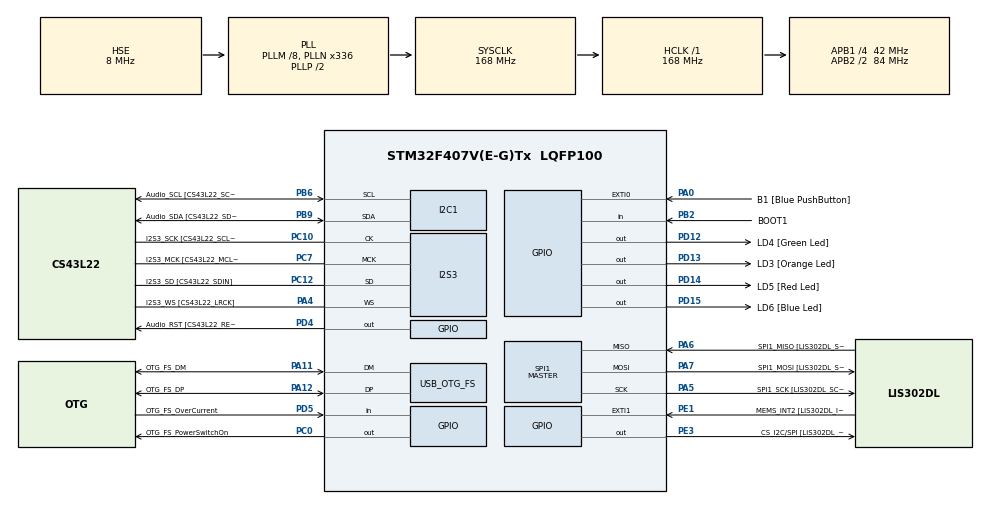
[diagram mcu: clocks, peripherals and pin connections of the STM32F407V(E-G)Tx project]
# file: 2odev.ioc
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I2S3.AudioFreq-Half_Duplex_Master=I2S_AUDIOFREQ_96K
I2S3.ErrorAudioFreq=-2.34 %
I2S3.ErrorAudioFreq-Half_Duplex_Master=0.8 %
I2S3.FullDuplexMode=I2S_FULLDUPLEXMODE_DISABLE
I2S3.Instance=SPI$Index
I2S3.RealAudioFreq=93.75 KHz
I2S3.RealAudioFreq-Half_Duplex_Master=96.774 KHz
I2S3.VirtualMode=I2S_MODE_MASTER
Mcu.Family=STM32F4
Mcu.Name=STM32F407V(E-G)Tx
Mcu.Package=LQFP100
NVIC.EXTI0_IRQn=true\:0\:0\:false\:false\:true\:true\:true\:true
NVIC.OTG_FS_IRQn=true\:0\:0\:false\:false\:true\:true\:true\:true
NVIC.PriorityGroup=NVIC_PRIORITYGROUP_0
NVIC.TIM6_DAC_IRQn=true\:0\:0\:false\:false\:true\:true\:true\:true
NVIC.TIM7_IRQn=true\:0\:0\:false\:false\:true\:true\:true\:true
PA0-WKUP.GPIO_Label=B1 [Blue PushButton]
PA0-WKUP.GPIO_ModeDefaultEXTI=GPIO_MODE_IT_RISING_FALLING
PA0-WKUP.GPIO_PuPd=GPIO_NOPULL
PA0-WKUP.Signal=GPXTI0
PA10.GPIO_Label=OTG_FS_ID
PA10.GPIO_Mode=GPIO_MODE_AF_PP
PA10.GPIO_PuPd=GPIO_NOPULL
PA10.GPIO_Speed=GPIO_SPEED_FREQ_LOW
PA10.Signal=USB_OTG_FS_ID
PA11.GPIO_Label=OTG_FS_DM
PA11.GPIO_Mode=GPIO_MODE_AF_PP
PA11.GPIO_PuPd=GPIO_NOPULL
PA11.GPIO_Speed=GPIO_SPEED_FREQ_LOW
PA11.Mode=Device_Only
PA11.Signal=USB_OTG_FS_DM
PA12.GPIO_Label=OTG_FS_DP
PA12.GPIO_Mode=GPIO_MODE_AF_PP
PA12.GPIO_PuPd=GPIO_NOPULL
PA12.GPIO_Speed=GPIO_SPEED_FREQ_LOW
PA12.Mode=Device_Only
PA12.Signal=USB_OTG_FS_DP
PA13.GPIO_Label=SWDIO
PA13.Mode=Trace_Asynchronous_SW
PA13.Signal=SYS_JTMS-SWDIO
PA14.GPIO_Label=SWCLK
PA14.Mode=Trace_Asynchronous_SW
PA14.Signal=SYS_JTCK-SWCLK
PA4.GPIO_Label=I2S3_WS [CS43L22_LRCK]
PA4.GPIO_Mode=GPIO_MODE_AF_PP
PA4.GPIO_PuPd=GPIO_NOPULL
PA4.GPIO_Speed=GPIO_SPEED_FREQ_LOW
PA4.Mode=Half_Duplex_Master
PA4.Signal=I2S3_WS
PA5.GPIO_Label=SPI1_SCK [LIS302DL_SCL/SPC]
PA5.GPIO_Mode=GPIO_MODE_AF_PP
PA5.GPIO_PuPd=GPIO_NOPULL
PA5.GPIO_Speed=GPIO_SPEED_FREQ_LOW
PA5.Mode=Full_Duplex_Master
PA5.Signal=SPI1_SCK
PA6.GPIO_Label=SPI1_MISO [LIS302DL_SDO]
PA6.GPIO_Mode=GPIO_MODE_AF_PP
PA6.GPIO_PuPd=GPIO_NOPULL
PA6.GPIO_Speed=GPIO_SPEED_FREQ_LOW
PA6.Mode=Full_Duplex_Master
PA6.Signal=SPI1_MISO
PA7.GPIO_Label=SPI1_MOSI [LIS302DL_SDA/SDI/SDO]
PA7.GPIO_Mode=GPIO_MODE_AF_PP
PA7.GPIO_PuPd=GPIO_NOPULL
PA7.GPIO_Speed=GPIO_SPEED_FREQ_LOW
PA7.Mode=Full_Duplex_Master
PA7.Signal=SPI1_MOSI
PA9.GPIO_Label=VBUS_FS
PA9.GPIO_Mode=GPIO_MODE_INPUT
PA9.GPIO_PuPd=GPIO_NOPULL
PA9.Signal=USB_OTG_FS_VBUS
PB10.GPIO_Label=CLK_IN [MP45DT02_CLK]
PB10.GPIO_Mode=GPIO_MODE_AF_PP
PB10.GPIO_PuPd=GPIO_NOPULL
PB10.GPIO_Speed=GPIO_SPEED_FREQ_LOW
PB10.Signal=I2S2_CK
PB2.GPIO_Label=BOOT1
PB2.GPIO_Mode=GPIO_MODE_INPUT
PB2.GPIO_PuPd=GPIO_NOPULL
PB2.Signal=GPIO_Input
PB3.GPIO_Label=SWO
PB3.Mode=Trace_Asynchronous_SW
PB3.Signal=SYS_JTDO-SWO
PB6.GPIO_Label=Audio_SCL [CS43L22_SCL]
PB6.GPIO_Mode=GPIO_MODE_AF_OD
PB6.GPIO_Pu=GPIO_PULLUP
PB6.GPIO_PuPd=GPIO_NOPULL
PB6.GPIO_Speed=GPIO_SPEED_FREQ_LOW
PB6.Mode=I2C
PB6.Signal=I2C1_SCL
PB9.GPIO_Label=Audio_SDA [CS43L22_SDA]
PB9.GPIO_Mode=GPIO_MODE_AF_OD
PB9.GPIO_Pu=GPIO_PULLUP
PB9.GPIO_PuPd=GPIO_NOPULL
PB9.GPIO_Speed=GPIO_SPEED_FREQ_LOW
PB9.Mode=I2C
PB9.Signal=I2C1_SDA
PC0.GPIO_Label=OTG_FS_PowerSwitchOn
PC0.GPIO_PuPd=GPIO_NOPULL
PC0.GPIO_Speed=GPIO_SPEED_FREQ_LOW
PC0.PinState=GPIO_PIN_SET
PC0.Signal=GPIO_Output
PC10.GPIO_Label=I2S3_SCK [CS43L22_SCLK]
PC10.GPIO_Mode=GPIO_MODE_AF_PP
PC10.GPIO_PuPd=GPIO_NOPULL
PC10.GPIO_Speed=GPIO_SPEED_FREQ_LOW
PC10.Mode=Half_Duplex_Master
PC10.Signal=I2S3_CK
PC12.GPIO_Label=I2S3_SD [CS43L22_SDIN]
PC12.GPIO_Mode=GPIO_MODE_AF_PP
PC12.GPIO_PuPd=GPIO_NOPULL
PC12.GPIO_Speed=GPIO_SPEED_FREQ_LOW
PC12.Mode=Half_Duplex_Master
PC12.Signal=I2S3_SD
PC14-OSC32_IN.GPIO_Label=PC14-OSC32_IN
PC14-OSC32_IN.Mode=LSE-External-Oscillator
PC14-OSC32_IN.Signal=RCC_OSC32_IN
PC15-OSC32_OUT.GPIO_Label=PC15-OSC32_OUT
PC15-OSC32_OUT.Mode=LSE-External-Oscillator
PC15-OSC32_OUT.Signal=RCC_OSC32_OUT
PC3.GPIO_Label=PDM_OUT [MP45DT02_DOUT]
PC3.GPIO_Mode=GPIO_MODE_AF_PP
PC3.GPIO_PuPd=GPIO_NOPULL
PC3.GPIO_Speed=GPIO_SPEED_FREQ_LOW
PC3.Signal=I2S2_SD
PC7.GPIO_Label=I2S3_MCK [CS43L22_MCLK]
PC7.GPIO_Mode=GPIO_MODE_AF_PP
PC7.GPIO_PuPd=GPIO_NOPULL
PC7.GPIO_Speed=GPIO_SPEED_FREQ_LOW
PC7.Mode=Master_Clock_Activated
PC7.Signal=I2S3_MCK
PD12.GPIO_Label=LD4 [Green Led]
PD12.GPIO_PuPd=GPIO_NOPULL
PD12.GPIO_Speed=GPIO_SPEED_FREQ_LOW
PD12.Signal=GPIO_Output
PD13.GPIO_Label=LD3 [Orange Led]
PD13.GPIO_PuPd=GPIO_NOPULL
PD13.GPIO_Speed=GPIO_SPEED_FREQ_LOW
PD13.Signal=GPIO_Output
PD14.GPIO_Label=LD5 [Red Led]
PD14.GPIO_PuPd=GPIO_NOPULL
PD14.GPIO_Speed=GPIO_SPEED_FREQ_LOW
PD14.Signal=GPIO_Output
PD15.GPIO_Label=LD6 [Blue Led]
PD15.GPIO_PuPd=GPIO_NOPULL
PD15.GPIO_Speed=GPIO_SPEED_FREQ_LOW
PD15.Signal=GPIO_Output
PD4.GPIO_Label=Audio_RST [CS43L22_RESET]
PD4.GPIO_PuPd=GPIO_NOPULL
PD4.GPIO_Speed=GPIO_SPEED_FREQ_LOW
PD4.Signal=GPIO_Output
PD5.GPIO_Label=OTG_FS_OverCurrent
PD5.GPIO_Mode=GPIO_MODE_INPUT
PD5.GPIO_PuPd=GPIO_NOPULL
PD5.Signal=GPIO_Input
PE1.GPIO_Label=MEMS_INT2 [LIS302DL_INT2]
PE1.GPIO_ModeDefaultEXTI=GPIO_MODE_EVT_RISING
PE1.GPIO_PuPd=GPIO_NOPULL
PE1.Signal=GPXTI1
PE3.GPIO_Label=CS_I2C/SPI [LIS302DL_CS_I2C/SPI]
PE3.GPIO_PuPd=GPIO_NOPULL
PE3.GPIO_Speed=GPIO_SPEED_FREQ_LOW
PE3.Signal=GPIO_Output
PH0-OSC_IN.GPIO_Label=PH0-OSC_IN
PH0-OSC_IN.Mode=HSE-External-Oscillator
PH0-OSC_IN.Signal=RCC_OSC_IN
PH1-OSC_OUT.GPIO_Label=PH1-OSC_OUT
PH1-OSC_OUT.Mode=HSE-External-Oscillator
PH1-OSC_OUT.Signal=RCC_OSC_OUT
ProjectManager.HeapSize=0x200
ProjectManager.StackSize=0x400
ProjectManager.TargetToolchain=STM32CubeIDE
RCC.48MHZClocksFreq_Value=48000000
RCC.AHBFreq_Value=168000000
RCC.APB1CLKDivider=RCC_HCLK_DIV4
RCC.APB1Freq_Value=42000000
RCC.APB1TimFreq_Value=84000000
RCC.APB2CLKDivider=RCC_HCLK_DIV2
RCC.APB2Freq_Value=84000000
RCC.APB2TimFreq_Value=168000000
RCC.CortexFreq_Value=168000000
RCC.HCLKFreq_Value=168000000
RCC.HSE_VALUE=8000000
RCC.HSI_VALUE=16000000
RCC.PLLM=8
RCC.PLLN=336
RCC.PLLQ=7
RCC.SYSCLKFreq_VALUE=168000000
RCC.SYSCLKSource=RCC_SYSCLKSOURCE_PLLCLK
RCC.VCOOutputFreq_Value=336000000
SPI1.BaudRatePrescaler-Full_Duplex_Master=SPI_BAUDRATEPRESCALER_2
SPI1.CalculateBaudRate-Full_Duplex_Master=42.0 MBits/s
SPI1.Direction=SPI_DIRECTION_2LINES
SPI1.Mode=SPI_MODE_MASTER
SPI1.Mode-Full_Duplex_Master=SPI_MODE_MASTER
SPI1.VirtualType=VM_MASTER
TIM6.Period=2400-1
TIM6.Prescaler=20000-1
TIM7.Period=2100-1
TIM7.Prescaler=20000-1
USB_DEVICE.CLASS_NAME_FS=CDC
USB_DEVICE.VirtualMode-CDC_FS=Cdc
USB_DEVICE.VirtualModeFS=Cdc_FS
USB_OTG_FS.VirtualMode=Device_Only
VP_TIM6_VS_ClockSourceINT.Mode=Enable_Timer
VP_TIM7_VS_ClockSourceINT.Mode=Enable_Timer
VP_USB_DEVICE_VS_USB_DEVICE_CDC_FS.Mode=CDC_FS
board=STM32F407G-DISC1

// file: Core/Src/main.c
/* USER CODE BEGIN Header */
/**
  ******************************************************************************
  * @file           : main.c
  * @brief          : Main program body
  ******************************************************************************
  * @attention
  *
  * Copyright (c) 2022 STMicroelectronics.
  * All rights reserved.
  *
  * This software is licensed under terms that can be found in the LICENSE file
  * in the root directory of this software component.
  * If no LICENSE file comes with this software, it is provided AS-IS.
  *
  ******************************************************************************
  */
/* USER CODE END Header */
#include "main.h"
#include "usb_device.h"

/* USER CODE BEGIN Includes */
#include "usbd_cdc_if.h"
#include "string.h"
/* USER CODE END Includes */

/* USER CODE BEGIN PD */
time6count=0;
time7count=0;
int zaa=0;
/* USER CODE END PD */

I2C_HandleTypeDef hi2c1;

I2S_HandleTypeDef hi2s3;

SPI_HandleTypeDef hspi1;

TIM_HandleTypeDef htim6;
TIM_HandleTypeDef htim7;

/* USER CODE BEGIN PV */
char myarray[20];
char myarray2[20];
int deneme=0;
char *morscode[]={"._","_...","_._.","_..",".",".._.","__.","....","..",".___","_._","._..","__","_.","___",".__.","__._","._.","...","_",".._","..._",".__","_.._","_.__","__..",".____","..___","...__","...._",".....","_....","__...","___..","____.","_____"};
	char *morse[]={"A","B","C","D","E","F","G","H","I","J","K","L","M","N","O","P","Q","R","S","T","U","V","W","X","Y","Z","1","2","3","4","5","6","7","8","9","0"};

/* USER CODE END PV */

void SystemClock_Config(void);
static void MX_GPIO_Init(void);
static void MX_I2C1_Init(void);
static void MX_I2S3_Init(void);
static void MX_SPI1_Init(void);
static void MX_TIM6_Init(void);
static void MX_TIM7_Init(void);

int main(void)
{
  /* USER CODE BEGIN 1 */
	deneme=sizeof(myarray)/sizeof(char);
	memset(myarray, '\0', deneme);

  /* USER CODE END 1 */

  /* MCU Configuration--------------------------------------------------------*/

  /* Reset of all peripherals, Initializes the Flash interface and the Systick. */
  HAL_Init();

  /* Configure the system clock */
  SystemClock_Config();

  /* Initialize all configured peripherals */
  MX_GPIO_Init();
  MX_I2C1_Init();
  MX_I2S3_Init();
  MX_SPI1_Init();
  MX_TIM6_Init();
  MX_TIM7_Init();
  MX_USB_DEVICE_Init();

  /* Infinite loop */
  while (1)
  {

  }
}

void SystemClock_Config(void)
{
  RCC_OscInitTypeDef RCC_OscInitStruct = {0};
  RCC_ClkInitTypeDef RCC_ClkInitStruct = {0};

  /** Configure the main internal regulator output voltage
  */
  __HAL_RCC_PWR_CLK_ENABLE();
  __HAL_PWR_VOLTAGESCALING_CONFIG(PWR_REGULATOR_VOLTAGE_SCALE1);

  /** Initializes the RCC Oscillators according to the specified parameters
  * in the RCC_OscInitTypeDef structure.
  */
  RCC_OscInitStruct.OscillatorType = RCC_OSCILLATORTYPE_HSE;
  RCC_OscInitStruct.HSEState = RCC_HSE_ON;
  RCC_OscInitStruct.PLL.PLLState = RCC_PLL_ON;
  RCC_OscInitStruct.PLL.PLLSource = RCC_PLLSOURCE_HSE;
  RCC_OscInitStruct.PLL.PLLM = 8;
  RCC_OscInitStruct.PLL.PLLN = 336;
  RCC_OscInitStruct.PLL.PLLP = RCC_PLLP_DIV2;
  RCC_OscInitStruct.PLL.PLLQ = 7;
  if (HAL_RCC_OscConfig(&RCC_OscInitStruct) != HAL_OK)
  {
    Error_Handler();
  }

  /** Initializes the CPU, AHB and APB buses clocks
  */
  RCC_ClkInitStruct.ClockType = RCC_CLOCKTYPE_HCLK|RCC_CLOCKTYPE_SYSCLK
                              |RCC_CLOCKTYPE_PCLK1|RCC_CLOCKTYPE_PCLK2;
  RCC_ClkInitStruct.SYSCLKSource = RCC_SYSCLKSOURCE_PLLCLK;
  RCC_ClkInitStruct.AHBCLKDivider = RCC_SYSCLK_DIV1;
  RCC_ClkInitStruct.APB1CLKDivider = RCC_HCLK_DIV4;
  RCC_ClkInitStruct.APB2CLKDivider = RCC_HCLK_DIV2;

  if (HAL_RCC_ClockConfig(&RCC_ClkInitStruct, FLASH_LATENCY_5) != HAL_OK)
  {
    Error_Handler();
  }
}

static void MX_I2C1_Init(void)
{

  hi2c1.Instance = I2C1;
  hi2c1.Init.ClockSpeed = 100000;
  hi2c1.Init.DutyCycle = I2C_DUTYCYCLE_2;
  hi2c1.Init.OwnAddress1 = 0;
  hi2c1.Init.AddressingMode = I2C_ADDRESSINGMODE_7BIT;
  hi2c1.Init.DualAddressMode = I2C_DUALADDRESS_DISABLE;
  hi2c1.Init.OwnAddress2 = 0;
  hi2c1.Init.GeneralCallMode = I2C_GENERALCALL_DISABLE;
  hi2c1.Init.NoStretchMode = I2C_NOSTRETCH_DISABLE;
  if (HAL_I2C_Init(&hi2c1) != HAL_OK)
  {
    Error_Handler();
  }

}

static void MX_I2S3_Init(void)
{

  hi2s3.Instance = SPI3;
  hi2s3.Init.Mode = I2S_MODE_MASTER_TX;
  hi2s3.Init.Standard = I2S_STANDARD_PHILIPS;
  hi2s3.Init.DataFormat = I2S_DATAFORMAT_16B;
  hi2s3.Init.MCLKOutput = I2S_MCLKOUTPUT_ENABLE;
  hi2s3.Init.AudioFreq = I2S_AUDIOFREQ_96K;
  hi2s3.Init.CPOL = I2S_CPOL_LOW;
  hi2s3.Init.ClockSource = I2S_CLOCK_PLL;
  hi2s3.Init.FullDuplexMode = I2S_FULLDUPLEXMODE_DISABLE;
  if (HAL_I2S_Init(&hi2s3) != HAL_OK)
  {
    Error_Handler();
  }

}

static void MX_SPI1_Init(void)
{

  /* SPI1 parameter configuration*/
  hspi1.Instance = SPI1;
  hspi1.Init.Mode = SPI_MODE_MASTER;
  hspi1.Init.Direction = SPI_DIRECTION_2LINES;
  hspi1.Init.DataSize = SPI_DATASIZE_8BIT;
  hspi1.Init.CLKPolarity = SPI_POLARITY_LOW;
  hspi1.Init.CLKPhase = SPI_PHASE_1EDGE;
  hspi1.Init.NSS = SPI_NSS_SOFT;
  hspi1.Init.BaudRatePrescaler = SPI_BAUDRATEPRESCALER_2;
  hspi1.Init.FirstBit = SPI_FIRSTBIT_MSB;
  hspi1.Init.TIMode = SPI_TIMODE_DISABLE;
  hspi1.Init.CRCCalculation = SPI_CRCCALCULATION_DISABLE;
  hspi1.Init.CRCPolynomial = 10;
  if (HAL_SPI_Init(&hspi1) != HAL_OK)
  {
    Error_Handler();
  }

}

static void MX_TIM6_Init(void)
{

  TIM_MasterConfigTypeDef sMasterConfig = {0};

  htim6.Instance = TIM6;
  htim6.Init.Prescaler = 20000-1;
  htim6.Init.CounterMode = TIM_COUNTERMODE_UP;
  htim6.Init.Period = 2400-1;
  htim6.Init.AutoReloadPreload = TIM_AUTORELOAD_PRELOAD_DISABLE;
  if (HAL_TIM_Base_Init(&htim6) != HAL_OK)
  {
    Error_Handler();
  }
  sMasterConfig.MasterOutputTrigger = TIM_TRGO_RESET;
  sMasterConfig.MasterSlaveMode = TIM_MASTERSLAVEMODE_DISABLE;
  if (HAL_TIMEx_MasterConfigSynchronization(&htim6, &sMasterConfig) != HAL_OK)
  {
    Error_Handler();
  }

}

static void MX_TIM7_Init(void)
{

  TIM_MasterConfigTypeDef sMasterConfig = {0};

  htim7.Instance = TIM7;
  htim7.Init.Prescaler = 40000-1;
  htim7.Init.CounterMode = TIM_COUNTERMODE_UP;
  htim7.Init.Period = 2400-1;
  htim7.Init.AutoReloadPreload = TIM_AUTORELOAD_PRELOAD_DISABLE;
  if (HAL_TIM_Base_Init(&htim7) != HAL_OK)
  {
    Error_Handler();
  }
  sMasterConfig.MasterOutputTrigger = TIM_TRGO_RESET;
  sMasterConfig.MasterSlaveMode = TIM_MASTERSLAVEMODE_DISABLE;
  if (HAL_TIMEx_MasterConfigSynchronization(&htim7, &sMasterConfig) != HAL_OK)
  {
    Error_Handler();
  }

}

static void MX_GPIO_Init(void)
{
  GPIO_InitTypeDef GPIO_InitStruct = {0};

  /* GPIO Ports Clock Enable */
  __HAL_RCC_GPIOE_CLK_ENABLE();
  __HAL_RCC_GPIOC_CLK_ENABLE();
  __HAL_RCC_GPIOH_CLK_ENABLE();
  __HAL_RCC_GPIOA_CLK_ENABLE();
  __HAL_RCC_GPIOB_CLK_ENABLE();
  __HAL_RCC_GPIOD_CLK_ENABLE();

  /*Configure GPIO pin Output Level */
  HAL_GPIO_WritePin(CS_I2C_SPI_GPIO_Port, CS_I2C_SPI_Pin, GPIO_PIN_RESET);

  /*Configure GPIO pin Output Level */
  HAL_GPIO_WritePin(OTG_FS_PowerSwitchOn_GPIO_Port, OTG_FS_PowerSwitchOn_Pin, GPIO_PIN_SET);

  /*Configure GPIO pin Output Level */
  HAL_GPIO_WritePin(GPIOD, LD4_Pin|LD3_Pin|LD5_Pin|LD6_Pin
                          |Audio_RST_Pin, GPIO_PIN_RESET);

  /*Configure GPIO pin : CS_I2C_SPI_Pin */
  GPIO_InitStruct.Pin = CS_I2C_SPI_Pin;
  GPIO_InitStruct.Mode = GPIO_MODE_OUTPUT_PP;
  GPIO_InitStruct.Pull = GPIO_NOPULL;
  GPIO_InitStruct.Speed = GPIO_SPEED_FREQ_LOW;
  HAL_GPIO_Init(CS_I2C_SPI_GPIO_Port, &GPIO_InitStruct);

  /*Configure GPIO pin : OTG_FS_PowerSwitchOn_Pin */
  GPIO_InitStruct.Pin = OTG_FS_PowerSwitchOn_Pin;
  GPIO_InitStruct.Mode = GPIO_MODE_OUTPUT_PP;
  GPIO_InitStruct.Pull = GPIO_NOPULL;
  GPIO_InitStruct.Speed = GPIO_SPEED_FREQ_LOW;
  HAL_GPIO_Init(OTG_FS_PowerSwitchOn_GPIO_Port, &GPIO_InitStruct);

  /*Configure GPIO pin : PDM_OUT_Pin */
  GPIO_InitStruct.Pin = PDM_OUT_Pin;
  GPIO_InitStruct.Mode = GPIO_MODE_AF_PP;
  GPIO_InitStruct.Pull = GPIO_NOPULL;
  GPIO_InitStruct.Speed = GPIO_SPEED_FREQ_LOW;
  GPIO_InitStruct.Alternate = GPIO_AF5_SPI2;
  HAL_GPIO_Init(PDM_OUT_GPIO_Port, &GPIO_InitStruct);

  /*Configure GPIO pin : B1_Pin */
  GPIO_InitStruct.Pin = B1_Pin;
  GPIO_InitStruct.Mode = GPIO_MODE_IT_RISING_FALLING;
  GPIO_InitStruct.Pull = GPIO_NOPULL;
  HAL_GPIO_Init(B1_GPIO_Port, &GPIO_InitStruct);

  /*Configure GPIO pin : BOOT1_Pin */
  GPIO_InitStruct.Pin = BOOT1_Pin;
  GPIO_InitStruct.Mode = GPIO_MODE_INPUT;
  GPIO_InitStruct.Pull = GPIO_NOPULL;
  HAL_GPIO_Init(BOOT1_GPIO_Port, &GPIO_InitStruct);

  /*Configure GPIO pin : CLK_IN_Pin */
  GPIO_InitStruct.Pin = CLK_IN_Pin;
  GPIO_InitStruct.Mode = GPIO_MODE_AF_PP;
  GPIO_InitStruct.Pull = GPIO_NOPULL;
  GPIO_InitStruct.Speed = GPIO_SPEED_FREQ_LOW;
  GPIO_InitStruct.Alternate = GPIO_AF5_SPI2;
  HAL_GPIO_Init(CLK_IN_GPIO_Port, &GPIO_InitStruct);

  /*Configure GPIO pins : LD4_Pin LD3_Pin LD5_Pin LD6_Pin
                           Audio_RST_Pin */
  GPIO_InitStruct.Pin = LD4_Pin|LD3_Pin|LD5_Pin|LD6_Pin
                          |Audio_RST_Pin;
  GPIO_InitStruct.Mode = GPIO_MODE_OUTPUT_PP;
  GPIO_InitStruct.Pull = GPIO_NOPULL;
  GPIO_InitStruct.Speed = GPIO_SPEED_FREQ_LOW;
  HAL_GPIO_Init(GPIOD, &GPIO_InitStruct);

  /*Configure GPIO pin : OTG_FS_OverCurrent_Pin */
  GPIO_InitStruct.Pin = OTG_FS_OverCurrent_Pin;
  GPIO_InitStruct.Mode = GPIO_MODE_INPUT;
  GPIO_InitStruct.Pull = GPIO_NOPULL;
  HAL_GPIO_Init(OTG_FS_OverCurrent_GPIO_Port, &GPIO_InitStruct);

  /*Configure GPIO pin : MEMS_INT2_Pin */
  GPIO_InitStruct.Pin = MEMS_INT2_Pin;
  GPIO_InitStruct.Mode = GPIO_MODE_EVT_RISING;
  GPIO_InitStruct.Pull = GPIO_NOPULL;
  HAL_GPIO_Init(MEMS_INT2_GPIO_Port, &GPIO_InitStruct);

  /* EXTI interrupt init*/
  HAL_NVIC_SetPriority(EXTI0_IRQn, 0, 0);
  HAL_NVIC_EnableIRQ(EXTI0_IRQn);

}

/* USER CODE BEGIN 4 */
void HAL_GPIO_EXTI_Callback(uint16_t GPIO_Pin)
{

  /* Prevent unused argument(s) compilation warning */
  if(GPIO_Pin==GPIO_PIN_0){
	  if(HAL_GPIO_ReadPin( GPIOA,GPIO_PIN_0)){
	  HAL_NVIC_DisableIRQ(EXTI0_IRQn);
	  HAL_TIM_Base_Start_IT(&htim6);
	  HAL_TIM_Base_Stop_IT(&htim7);
	  time7count=0;
	  TIM7->CNT=0;

	  }
	  if(HAL_GPIO_ReadPin( GPIOA,GPIO_PIN_0)==0){
      HAL_NVIC_DisableIRQ(EXTI0_IRQn);
      HAL_TIM_Base_Stop_IT(&htim6);
      HAL_TIM_Base_Start_IT(&htim7);

      //if((time6count*2400)+TIM6->CNT>2400 && (time6count*2400)+TIM6->CNT<4800){
      if((time6count*2400)+TIM6->CNT<4800){

    	  strcat(myarray,".");
    	  dot();
    	  time6count=0;
    	  TIM6->CNT=0;
      }
      //else if((time6count*2400)+TIM6->CNT>4800 && (time6count*2400)+TIM6->CNT<9600){
      else{

    	  strcat(myarray,"_");
    	  dash();
    	  time6count=0;
    	  TIM6->CNT=0;
      }

	  }
  }

  /* NOTE: This function Should not be modified, when the callback is needed,
           the HAL_GPIO_EXTI_Callback could be implemented in the user file
   */
}
void HAL_TIM_PeriodElapsedCallback(TIM_HandleTypeDef *htim)
{

	if(htim==&htim7){

		time7count++;
		if(time7count==5){
			time7count=0;
			strcpy(myarray2, myarray);
			//CDC_Transmit_FS(myarray2, 20);
			for(int i=0;i<sizeof(morscode)/sizeof(char *);i++)
			if(!strcmp(myarray2, morscode[i])){
				  CDC_Transmit_FS(morse[i], strlen(morse[i]));
			 memset(myarray, '\0', deneme);
			 HAL_TIM_Base_Stop_IT(&htim7);

		}
		}
		HAL_NVIC_EnableIRQ(EXTI0_IRQn);
	}

	if (htim==&htim6)
	{
		time6count++;
		HAL_NVIC_EnableIRQ(EXTI0_IRQn);

	}

}
void dot(){
	HAL_GPIO_WritePin(GPIOD, LD6_Pin, 1);
	for(int i=0;i<0x36EE80;i++){}
		HAL_GPIO_WritePin(GPIOD, LD6_Pin, 0);

}
void dash(){
	HAL_GPIO_WritePin(GPIOD, LD5_Pin, 1);
	for(int i=0;i<0x36EE80;i++){}
	HAL_GPIO_WritePin(GPIOD, LD5_Pin, 0);

}
/* USER CODE END 4 */

void Error_Handler(void)
{
  __disable_irq();
  while (1)
  {
  }
}
